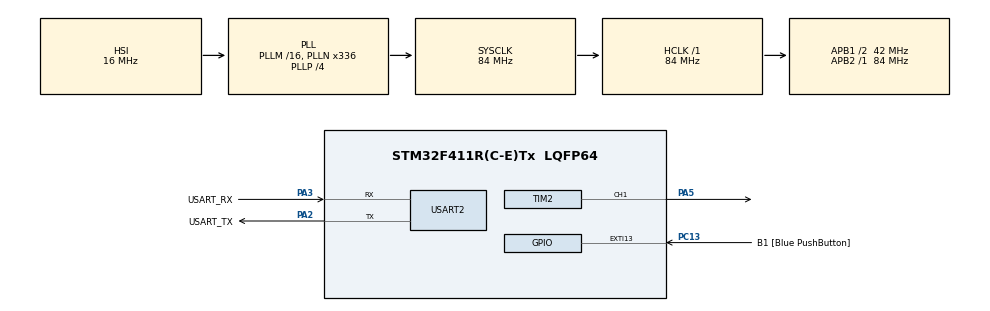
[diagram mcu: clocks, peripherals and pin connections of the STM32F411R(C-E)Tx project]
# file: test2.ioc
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Mcu.Family=STM32F4
Mcu.Name=STM32F411R(C-E)Tx
Mcu.Package=LQFP64
NVIC.EXTI15_10_IRQn=true\:0\:0\:false\:false\:true\:true\:true\:true
NVIC.PriorityGroup=NVIC_PRIORITYGROUP_0
NVIC.TIM1_BRK_TIM9_IRQn=true\:0\:0\:false\:false\:true\:true\:true\:true
NVIC.TIM1_CC_IRQn=true\:0\:0\:false\:false\:true\:true\:true\:true
NVIC.TIM1_TRG_COM_TIM11_IRQn=true\:0\:0\:false\:false\:true\:true\:true\:true
NVIC.TIM1_UP_TIM10_IRQn=true\:0\:0\:false\:false\:true\:true\:true\:true
NVIC.TIM2_IRQn=true\:0\:0\:false\:false\:true\:true\:true\:true
NVIC.TIM3_IRQn=true\:0\:0\:false\:false\:true\:true\:true\:true
PA13.GPIO_Label=TMS
PA13.Mode=Serial_Wire
PA13.Signal=SYS_JTMS-SWDIO
PA14.GPIO_Label=TCK
PA14.Mode=Serial_Wire
PA14.Signal=SYS_JTCK-SWCLK
PA2.GPIO_Label=USART_TX
PA2.Mode=Asynchronous
PA2.Signal=USART2_TX
PA3.GPIO_Label=USART_RX
PA3.Mode=Asynchronous
PA3.Signal=USART2_RX
PA5.Signal=S_TIM2_CH1_ETR
PB3.GPIO_Label=SWO
PB3.Signal=SYS_JTDO-SWO
PC13-ANTI_TAMP.GPIO_Label=B1 [Blue PushButton]
PC13-ANTI_TAMP.GPIO_ModeDefaultEXTI=GPIO_MODE_IT_FALLING
PC13-ANTI_TAMP.Signal=GPXTI13
PC14-OSC32_IN.Mode=LSE-External-Oscillator
PC14-OSC32_IN.Signal=RCC_OSC32_IN
PC15-OSC32_OUT.Mode=LSE-External-Oscillator
PC15-OSC32_OUT.Signal=RCC_OSC32_OUT
PH0\ -\ OSC_IN.Mode=HSE-External-Clock-Source
PH0\ -\ OSC_IN.Signal=RCC_OSC_IN
PH1\ -\ OSC_OUT.Mode=HSE-External-Clock-Source
PH1\ -\ OSC_OUT.Signal=RCC_OSC_OUT
ProjectManager.HeapSize=0x200
ProjectManager.StackSize=0x400
ProjectManager.TargetToolchain=STM32CubeIDE
RCC.48MHZClocksFreq_Value=84000000
RCC.AHBFreq_Value=84000000
RCC.APB1CLKDivider=RCC_HCLK_DIV2
RCC.APB1Freq_Value=42000000
RCC.APB1TimFreq_Value=84000000
RCC.APB2Freq_Value=84000000
RCC.APB2TimFreq_Value=84000000
RCC.CortexFreq_Value=84000000
RCC.FLatency-AdvancedSettings=FLASH_LATENCY_2
RCC.HCLKFreq_Value=84000000
RCC.HSE_VALUE=8000000
RCC.HSI_VALUE=16000000
RCC.PLLN=336
RCC.PLLP=RCC_PLLP_DIV4
RCC.SYSCLKFreq_VALUE=84000000
RCC.SYSCLKSource=RCC_SYSCLKSOURCE_PLLCLK
RCC.VCOOutputFreq_Value=336000000
SH.S_TIM2_CH1_ETR.0=TIM2_CH1,PWM Generation1 CH1
TIM1.Period=300
TIM1.Prescaler=32000
TIM2.AutoReloadPreload=TIM_AUTORELOAD_PRELOAD_ENABLE
TIM2.Channel-PWM\ Generation1\ CH1=TIM_CHANNEL_1
TIM2.Period=799
TIM2.Prescaler=999
TIM3.AutoReloadPreload=TIM_AUTORELOAD_PRELOAD_ENABLE
TIM3.Period=39999
TIM3.Prescaler=19999
USART2.VirtualMode=VM_ASYNC
VP_TIM1_VS_ClockSourceINT.Mode=Internal
VP_TIM2_VS_ClockSourceINT.Mode=Internal
VP_TIM3_VS_ClockSourceINT.Mode=Internal
board=NUCLEO-F411RE

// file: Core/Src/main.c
/* USER CODE BEGIN Header */
/**
  ******************************************************************************
  * @file           : main.c
  * @brief          : Main program body
  ******************************************************************************
  * @attention
  *
  * Copyright (c) 2023 STMicroelectronics.
  * All rights reserved.
  *
  * This software is licensed under terms that can be found in the LICENSE file
  * in the root directory of this software component.
  * If no LICENSE file comes with this software, it is provided AS-IS.
  *
  ******************************************************************************
  */
/* USER CODE END Header */
#include "main.h"

TIM_HandleTypeDef htim1;
TIM_HandleTypeDef htim2;
TIM_HandleTypeDef htim3;

UART_HandleTypeDef huart2;

void SystemClock_Config(void);
static void MX_GPIO_Init(void);
static void MX_USART2_UART_Init(void);
static void MX_TIM1_Init(void);
static void MX_TIM2_Init(void);
static void MX_TIM3_Init(void);

/* USER CODE BEGIN 0 */
int c = 0;
int isPressed = 0;

/* USER CODE END 0 */

int main(void)
{

  /* MCU Configuration--------------------------------------------------------*/

  /* Reset of all peripherals, Initializes the Flash interface and the Systick. */
  HAL_Init();

  /* Configure the system clock */
  SystemClock_Config();

  /* Initialize all configured peripherals */
  MX_GPIO_Init();
  MX_USART2_UART_Init();
  MX_TIM1_Init();
  MX_TIM2_Init();
  MX_TIM3_Init();
  /* USER CODE BEGIN 2 */
  HAL_TIM_Base_Start_IT(&htim1);
  HAL_TIM_Base_Start_IT(&htim3);
  HAL_TIM_PWM_Start(&htim2, TIM_CHANNEL_1);
  TIM2->CCR1 = 0;

  /* USER CODE END 2 */

  /* Infinite loop */
  while (1)
  {

    /* USER CODE BEGIN 3 */
	  TIM2->CCR1 = 80 * c;
  }
  /* USER CODE END 3 */
}

void SystemClock_Config(void)
{
  RCC_OscInitTypeDef RCC_OscInitStruct = {0};
  RCC_ClkInitTypeDef RCC_ClkInitStruct = {0};

  /** Configure the main internal regulator output voltage
  */
  __HAL_RCC_PWR_CLK_ENABLE();
  __HAL_PWR_VOLTAGESCALING_CONFIG(PWR_REGULATOR_VOLTAGE_SCALE1);

  /** Initializes the RCC Oscillators according to the specified parameters
  * in the RCC_OscInitTypeDef structure.
  */
  RCC_OscInitStruct.OscillatorType = RCC_OSCILLATORTYPE_HSI;
  RCC_OscInitStruct.HSIState = RCC_HSI_ON;
  RCC_OscInitStruct.HSICalibrationValue = RCC_HSICALIBRATION_DEFAULT;
  RCC_OscInitStruct.PLL.PLLState = RCC_PLL_ON;
  RCC_OscInitStruct.PLL.PLLSource = RCC_PLLSOURCE_HSI;
  RCC_OscInitStruct.PLL.PLLM = 16;
  RCC_OscInitStruct.PLL.PLLN = 336;
  RCC_OscInitStruct.PLL.PLLP = RCC_PLLP_DIV4;
  RCC_OscInitStruct.PLL.PLLQ = 4;
  if (HAL_RCC_OscConfig(&RCC_OscInitStruct) != HAL_OK)
  {
    Error_Handler();
  }

  /** Initializes the CPU, AHB and APB buses clocks
  */
  RCC_ClkInitStruct.ClockType = RCC_CLOCKTYPE_HCLK|RCC_CLOCKTYPE_SYSCLK
                              |RCC_CLOCKTYPE_PCLK1|RCC_CLOCKTYPE_PCLK2;
  RCC_ClkInitStruct.SYSCLKSource = RCC_SYSCLKSOURCE_PLLCLK;
  RCC_ClkInitStruct.AHBCLKDivider = RCC_SYSCLK_DIV1;
  RCC_ClkInitStruct.APB1CLKDivider = RCC_HCLK_DIV2;
  RCC_ClkInitStruct.APB2CLKDivider = RCC_HCLK_DIV1;

  if (HAL_RCC_ClockConfig(&RCC_ClkInitStruct, FLASH_LATENCY_2) != HAL_OK)
  {
    Error_Handler();
  }
}

static void MX_TIM1_Init(void)
{

  TIM_ClockConfigTypeDef sClockSourceConfig = {0};
  TIM_MasterConfigTypeDef sMasterConfig = {0};

  htim1.Instance = TIM1;
  htim1.Init.Prescaler = 32000;
  htim1.Init.CounterMode = TIM_COUNTERMODE_UP;
  htim1.Init.Period = 300;
  htim1.Init.ClockDivision = TIM_CLOCKDIVISION_DIV1;
  htim1.Init.RepetitionCounter = 0;
  htim1.Init.AutoReloadPreload = TIM_AUTORELOAD_PRELOAD_DISABLE;
  if (HAL_TIM_Base_Init(&htim1) != HAL_OK)
  {
    Error_Handler();
  }
  sClockSourceConfig.ClockSource = TIM_CLOCKSOURCE_INTERNAL;
  if (HAL_TIM_ConfigClockSource(&htim1, &sClockSourceConfig) != HAL_OK)
  {
    Error_Handler();
  }
  sMasterConfig.MasterOutputTrigger = TIM_TRGO_RESET;
  sMasterConfig.MasterSlaveMode = TIM_MASTERSLAVEMODE_DISABLE;
  if (HAL_TIMEx_MasterConfigSynchronization(&htim1, &sMasterConfig) != HAL_OK)
  {
    Error_Handler();
  }

}

static void MX_TIM2_Init(void)
{

  TIM_ClockConfigTypeDef sClockSourceConfig = {0};
  TIM_MasterConfigTypeDef sMasterConfig = {0};
  TIM_OC_InitTypeDef sConfigOC = {0};

  htim2.Instance = TIM2;
  htim2.Init.Prescaler = 999;
  htim2.Init.CounterMode = TIM_COUNTERMODE_UP;
  htim2.Init.Period = 799;
  htim2.Init.ClockDivision = TIM_CLOCKDIVISION_DIV1;
  htim2.Init.AutoReloadPreload = TIM_AUTORELOAD_PRELOAD_ENABLE;
  if (HAL_TIM_Base_Init(&htim2) != HAL_OK)
  {
    Error_Handler();
  }
  sClockSourceConfig.ClockSource = TIM_CLOCKSOURCE_INTERNAL;
  if (HAL_TIM_ConfigClockSource(&htim2, &sClockSourceConfig) != HAL_OK)
  {
    Error_Handler();
  }
  if (HAL_TIM_PWM_Init(&htim2) != HAL_OK)
  {
    Error_Handler();
  }
  sMasterConfig.MasterOutputTrigger = TIM_TRGO_RESET;
  sMasterConfig.MasterSlaveMode = TIM_MASTERSLAVEMODE_DISABLE;
  if (HAL_TIMEx_MasterConfigSynchronization(&htim2, &sMasterConfig) != HAL_OK)
  {
    Error_Handler();
  }
  sConfigOC.OCMode = TIM_OCMODE_PWM1;
  sConfigOC.Pulse = 0;
  sConfigOC.OCPolarity = TIM_OCPOLARITY_HIGH;
  sConfigOC.OCFastMode = TIM_OCFAST_DISABLE;
  if (HAL_TIM_PWM_ConfigChannel(&htim2, &sConfigOC, TIM_CHANNEL_1) != HAL_OK)
  {
    Error_Handler();
  }
  HAL_TIM_MspPostInit(&htim2);

}

static void MX_TIM3_Init(void)
{

  TIM_ClockConfigTypeDef sClockSourceConfig = {0};
  TIM_MasterConfigTypeDef sMasterConfig = {0};

  htim3.Instance = TIM3;
  htim3.Init.Prescaler = 19999;
  htim3.Init.CounterMode = TIM_COUNTERMODE_UP;
  htim3.Init.Period = 39999;
  htim3.Init.ClockDivision = TIM_CLOCKDIVISION_DIV1;
  htim3.Init.AutoReloadPreload = TIM_AUTORELOAD_PRELOAD_ENABLE;
  if (HAL_TIM_Base_Init(&htim3) != HAL_OK)
  {
    Error_Handler();
  }
  sClockSourceConfig.ClockSource = TIM_CLOCKSOURCE_INTERNAL;
  if (HAL_TIM_ConfigClockSource(&htim3, &sClockSourceConfig) != HAL_OK)
  {
    Error_Handler();
  }
  sMasterConfig.MasterOutputTrigger = TIM_TRGO_RESET;
  sMasterConfig.MasterSlaveMode = TIM_MASTERSLAVEMODE_DISABLE;
  if (HAL_TIMEx_MasterConfigSynchronization(&htim3, &sMasterConfig) != HAL_OK)
  {
    Error_Handler();
  }

}

static void MX_USART2_UART_Init(void)
{

  huart2.Instance = USART2;
  huart2.Init.BaudRate = 115200;
  huart2.Init.WordLength = UART_WORDLENGTH_8B;
  huart2.Init.StopBits = UART_STOPBITS_1;
  huart2.Init.Parity = UART_PARITY_NONE;
  huart2.Init.Mode = UART_MODE_TX_RX;
  huart2.Init.HwFlowCtl = UART_HWCONTROL_NONE;
  huart2.Init.OverSampling = UART_OVERSAMPLING_16;
  if (HAL_UART_Init(&huart2) != HAL_OK)
  {
    Error_Handler();
  }

}

static void MX_GPIO_Init(void)
{
  GPIO_InitTypeDef GPIO_InitStruct = {0};

  /* GPIO Ports Clock Enable */
  __HAL_RCC_GPIOC_CLK_ENABLE();
  __HAL_RCC_GPIOH_CLK_ENABLE();
  __HAL_RCC_GPIOA_CLK_ENABLE();
  __HAL_RCC_GPIOB_CLK_ENABLE();

  /*Configure GPIO pin : B1_Pin */
  GPIO_InitStruct.Pin = B1_Pin;
  GPIO_InitStruct.Mode = GPIO_MODE_IT_FALLING;
  GPIO_InitStruct.Pull = GPIO_NOPULL;
  HAL_GPIO_Init(B1_GPIO_Port, &GPIO_InitStruct);

  /* EXTI interrupt init*/
  HAL_NVIC_SetPriority(EXTI15_10_IRQn, 0, 0);
  HAL_NVIC_EnableIRQ(EXTI15_10_IRQn);

}

/* USER CODE BEGIN 4 */
void HAL_GPIO_EXTI_Callback(uint16_t GPIO_Pin){
	if(GPIO_Pin == GPIO_PIN_13 && isPressed == 0){
		c = (c + 1)%11;
		isPressed = 1;
	}
}

void HAL_TIM_PeriodElapsedCallback(TIM_HandleTypeDef *htim){
	if(htim->Instance == TIM1){
		if(HAL_GPIO_ReadPin(GPIOC, GPIO_PIN_13) == GPIO_PIN_RESET){
			isPressed = 0;
		}
	}
	if(htim->Instance == TIM3){
		c = 0;
	}
}

/* USER CODE END 4 */

void Error_Handler(void)
{
  __disable_irq();
  while (1)
  {
  }
}
